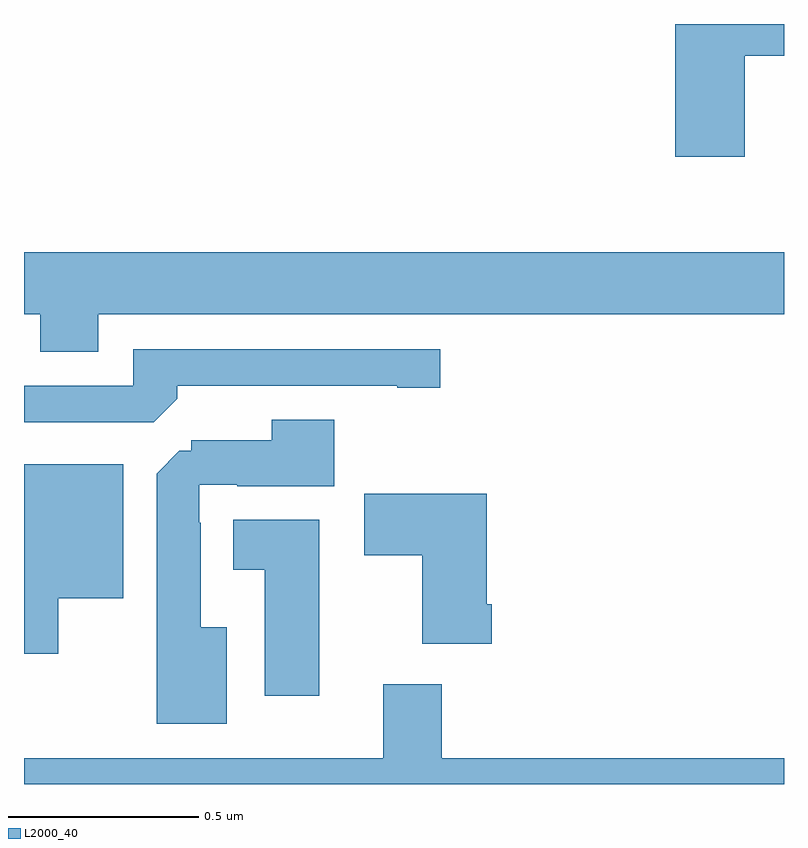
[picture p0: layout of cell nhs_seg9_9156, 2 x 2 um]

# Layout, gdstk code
import gdstk
lib = gdstk.Library(unit=1e-6, precision=1e-09)
def P(c, l, *ps):  # polygons
    for p in ps: c.add(gdstk.Polygon(p, *l))
L2000_40 = (2000, 40)

nhs_seg9_9156 = lib.new_cell('nhs_seg9_9156')
P(nhs_seg9_9156, L2000_40, [(227.897,1214.416),(228,1214.416),(228,1214.5),(227.714,1214.5),(227.714,1214.151),(227.897,1214.151)],
  [(226.195,1213.736),(228,1213.736),(228,1213.9),(226,1213.9),(226,1213.736),(226.043,1213.736),(226.043,1213.637),(226.195,1213.637)],
  [(226.403,1213.514),(226.403,1213.548),(226.982,1213.548),(226.982,1213.543),(227.095,1213.543),(227.095,1213.644),(226.287,1213.644),(226.287,1213.548),(226,1213.548),(226,1213.452),(226.341,1213.452)],
  [(226.534,1212.913),(226.465,1212.913),(226.465,1213.187),(226.461,1213.187),(226.461,1213.287),(226.561,1213.287),(226.561,1213.283),(226.816,1213.283),(226.816,1213.459),(226.652,1213.459),(226.652,1213.405),(226.44,1213.405),(226.44,1213.377),(226.409,1213.377),(226.349,1213.317),(226.349,1212.659),(226.534,1212.659)],
  [(226.09,1212.989),(226.261,1212.989),(226.261,1213.342),(226,1213.342),(226,1212.843),(226.09,1212.843)],
  [(227.231,1212.973),(227.218,1212.973),(227.218,1213.264),(226.896,1213.264),(226.896,1213.102),(227.048,1213.102),(227.048,1212.869),(227.231,1212.869)],
  [(226.777,1213.195),(226.55,1213.195),(226.55,1213.064),(226.634,1213.064),(226.634,1212.732),(226.777,1212.732)],
  [(228,1212.568),(227.099,1212.568),(227.099,1212.763),(226.946,1212.763),(226.946,1212.568),(226,1212.568),(226,1212.5),(228,1212.5)])

lib.write_gds('nhs_seg9_9156.gds')
